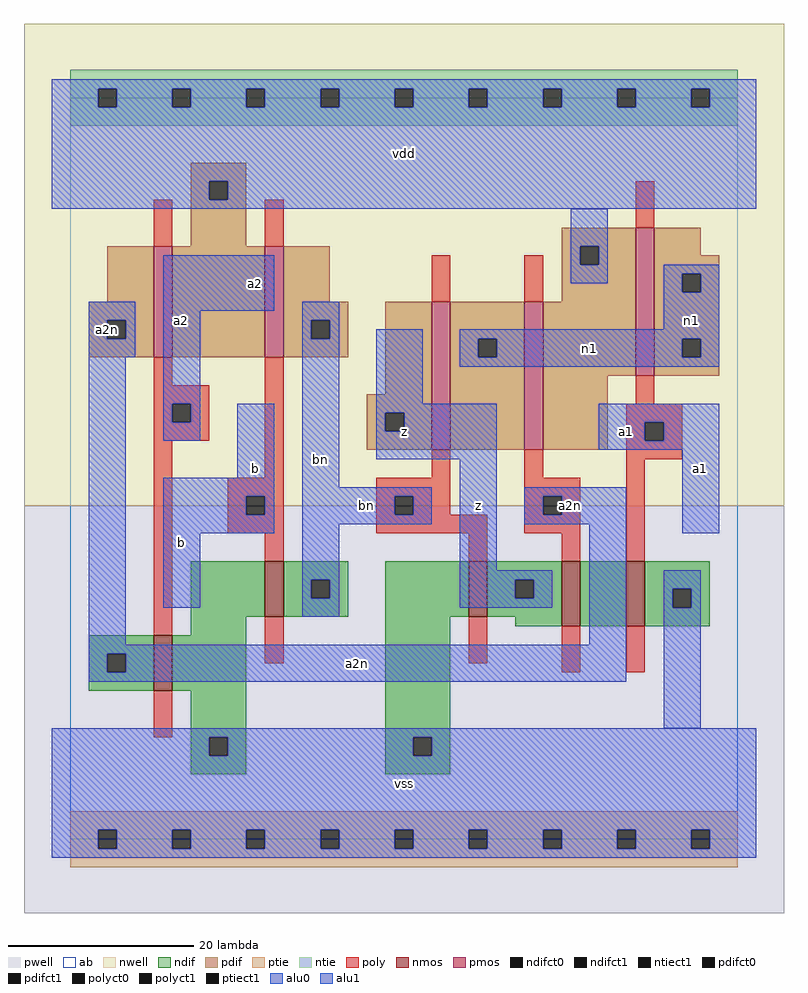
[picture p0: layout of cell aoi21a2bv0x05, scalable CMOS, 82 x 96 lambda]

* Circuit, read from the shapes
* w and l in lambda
.subckt aoi21a2bv0x05 a1 a2 a2n b bn n1 vdd vss z
M1 vss a2 a2n vss nfet w=6 l=2
M2 bn b vss vss nfet w=6 l=2
M3 z bn vss vss nfet w=6 l=2
M4 n2 a2n z vss nfet w=7 l=2
M5 vss a1 n2 vss nfet w=7 l=2
M6 vdd a2 a2n vdd pfet w=12 l=2
M7 bn b vdd vdd pfet w=12 l=2
M8 n1 bn z vdd pfet w=16 l=2
M9 vdd a2n n1 vdd pfet w=16 l=2
M10 n1 a1 vdd vdd pfet w=16 l=2
.ends

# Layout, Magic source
magic
tech scmos
<< ab >>
rect 0 0 72 80
<< nwell >>
rect -5 36 77 88
<< pwell >>
rect -5 -8 77 36
<< poly >>
rect 9 64 11 69
rect 21 64 23 69
rect 61 66 63 71
rect 39 58 41 63
rect 49 58 51 63
rect 9 49 11 52
rect 9 47 15 49
rect 9 45 11 47
rect 13 45 15 47
rect 9 43 15 45
rect 9 22 11 43
rect 21 39 23 52
rect 61 47 63 50
rect 60 45 66 47
rect 60 43 62 45
rect 64 43 66 45
rect 39 39 41 42
rect 17 37 23 39
rect 17 35 19 37
rect 21 35 23 37
rect 17 33 23 35
rect 33 37 41 39
rect 33 35 35 37
rect 37 35 41 37
rect 49 39 51 42
rect 60 41 66 43
rect 49 37 55 39
rect 49 35 51 37
rect 53 35 55 37
rect 33 33 45 35
rect 49 33 55 35
rect 21 30 23 33
rect 43 30 45 33
rect 53 30 55 33
rect 60 30 62 41
rect 21 19 23 24
rect 9 11 11 16
rect 43 19 45 24
rect 53 18 55 23
rect 60 18 62 23
<< ndif >>
rect 13 24 21 30
rect 23 28 30 30
rect 23 26 26 28
rect 28 26 30 28
rect 23 24 30 26
rect 34 24 43 30
rect 45 28 53 30
rect 45 26 48 28
rect 50 26 53 28
rect 45 24 53 26
rect 13 22 19 24
rect 2 20 9 22
rect 2 18 4 20
rect 6 18 9 20
rect 2 16 9 18
rect 11 16 19 22
rect 13 11 19 16
rect 13 9 15 11
rect 17 9 19 11
rect 13 7 19 9
rect 34 11 41 24
rect 48 23 53 24
rect 55 23 60 30
rect 62 27 69 30
rect 62 25 65 27
rect 67 25 69 27
rect 62 23 69 25
rect 34 9 37 11
rect 39 9 41 11
rect 34 7 41 9
<< pdif >>
rect 13 71 19 73
rect 13 69 15 71
rect 17 69 19 71
rect 13 64 19 69
rect 53 64 61 66
rect 4 58 9 64
rect 2 56 9 58
rect 2 54 4 56
rect 6 54 9 56
rect 2 52 9 54
rect 11 52 21 64
rect 23 58 28 64
rect 53 62 55 64
rect 57 62 61 64
rect 53 58 61 62
rect 23 56 30 58
rect 23 54 26 56
rect 28 54 30 56
rect 23 52 30 54
rect 34 48 39 58
rect 32 46 39 48
rect 32 44 34 46
rect 36 44 39 46
rect 32 42 39 44
rect 41 54 49 58
rect 41 52 44 54
rect 46 52 49 54
rect 41 42 49 52
rect 51 50 61 58
rect 63 63 68 66
rect 63 61 70 63
rect 63 59 66 61
rect 68 59 70 61
rect 63 54 70 59
rect 63 52 66 54
rect 68 52 70 54
rect 63 50 70 52
rect 51 42 58 50
<< alu1 >>
rect -2 81 74 82
rect -2 79 3 81
rect 5 79 11 81
rect 13 79 19 81
rect 21 79 27 81
rect 29 79 35 81
rect 37 79 43 81
rect 45 79 51 81
rect 53 79 59 81
rect 61 79 67 81
rect 69 79 74 81
rect -2 71 74 79
rect -2 69 15 71
rect 17 69 74 71
rect -2 68 74 69
rect 10 57 22 63
rect 10 47 14 57
rect 10 45 11 47
rect 13 45 14 47
rect 10 43 14 45
rect 18 39 22 47
rect 10 37 22 39
rect 10 35 19 37
rect 21 35 22 37
rect 10 33 22 35
rect 33 47 38 55
rect 33 46 46 47
rect 33 44 34 46
rect 36 44 46 46
rect 33 41 46 44
rect 57 45 70 47
rect 57 43 62 45
rect 64 43 70 45
rect 57 42 70 43
rect 10 25 14 33
rect 42 29 46 41
rect 42 28 52 29
rect 42 26 48 28
rect 50 26 52 28
rect 42 25 52 26
rect 66 33 70 42
rect -2 11 74 12
rect -2 9 15 11
rect 17 9 37 11
rect 39 9 74 11
rect -2 1 74 9
rect -2 -1 3 1
rect 5 -1 11 1
rect 13 -1 19 1
rect 21 -1 27 1
rect 29 -1 35 1
rect 37 -1 43 1
rect 45 -1 51 1
rect 53 -1 59 1
rect 61 -1 67 1
rect 69 -1 74 1
rect -2 -2 74 -1
<< ptie >>
rect 0 1 72 3
rect 0 -1 3 1
rect 5 -1 11 1
rect 13 -1 19 1
rect 21 -1 27 1
rect 29 -1 35 1
rect 37 -1 43 1
rect 45 -1 51 1
rect 53 -1 59 1
rect 61 -1 67 1
rect 69 -1 72 1
rect 0 -3 72 -1
<< ntie >>
rect 0 81 72 83
rect 0 79 3 81
rect 5 79 11 81
rect 13 79 19 81
rect 21 79 27 81
rect 29 79 35 81
rect 37 79 43 81
rect 45 79 51 81
rect 53 79 59 81
rect 61 79 67 81
rect 69 79 72 81
rect 0 77 72 79
<< nmos >>
rect 21 24 23 30
rect 43 24 45 30
rect 9 16 11 22
rect 53 23 55 30
rect 60 23 62 30
<< pmos >>
rect 9 52 11 64
rect 21 52 23 64
rect 39 42 41 58
rect 49 42 51 58
rect 61 50 63 66
<< polyct0 >>
rect 35 35 37 37
rect 51 35 53 37
<< polyct1 >>
rect 11 45 13 47
rect 62 43 64 45
rect 19 35 21 37
<< ndifct0 >>
rect 26 26 28 28
rect 4 18 6 20
rect 65 25 67 27
<< ndifct1 >>
rect 48 26 50 28
rect 15 9 17 11
rect 37 9 39 11
<< ntiect1 >>
rect 3 79 5 81
rect 11 79 13 81
rect 19 79 21 81
rect 27 79 29 81
rect 35 79 37 81
rect 43 79 45 81
rect 51 79 53 81
rect 59 79 61 81
rect 67 79 69 81
<< ptiect1 >>
rect 3 -1 5 1
rect 11 -1 13 1
rect 19 -1 21 1
rect 27 -1 29 1
rect 35 -1 37 1
rect 43 -1 45 1
rect 51 -1 53 1
rect 59 -1 61 1
rect 67 -1 69 1
<< pdifct0 >>
rect 4 54 6 56
rect 55 62 57 64
rect 26 54 28 56
rect 44 52 46 54
rect 66 59 68 61
rect 66 52 68 54
<< pdifct1 >>
rect 15 69 17 71
rect 34 44 36 46
<< alu0 >>
rect 54 64 58 68
rect 2 56 7 58
rect 2 54 4 56
rect 6 54 7 56
rect 2 52 7 54
rect 54 62 55 64
rect 57 62 58 64
rect 54 60 58 62
rect 64 61 70 62
rect 64 59 66 61
rect 68 59 70 61
rect 2 21 6 52
rect 25 56 29 58
rect 25 54 26 56
rect 28 54 29 56
rect 64 55 70 59
rect 25 38 29 54
rect 42 54 70 55
rect 42 52 44 54
rect 46 52 66 54
rect 68 52 70 54
rect 42 51 70 52
rect 25 37 39 38
rect 25 35 35 37
rect 37 35 39 37
rect 25 34 39 35
rect 25 28 29 34
rect 25 26 26 28
rect 28 26 29 28
rect 25 24 29 26
rect 49 37 60 38
rect 49 35 51 37
rect 53 35 60 37
rect 49 34 60 35
rect 56 21 60 34
rect 2 20 60 21
rect 2 18 4 20
rect 6 18 60 20
rect 2 17 60 18
rect 64 27 68 29
rect 64 25 65 27
rect 67 25 68 27
rect 64 12 68 25
<< labels >>
rlabel alu0 4 55 4 55 6 a2n
rlabel alu0 27 41 27 41 6 bn
rlabel alu0 32 36 32 36 6 bn
rlabel alu0 31 19 31 19 6 a2n
rlabel alu0 54 36 54 36 6 a2n
rlabel alu0 56 53 56 53 6 n1
rlabel alu0 67 56 67 56 6 n1
rlabel alu1 12 32 12 32 6 b
rlabel alu1 12 56 12 56 6 a2
rlabel alu1 20 40 20 40 6 b
rlabel alu1 20 60 20 60 6 a2
rlabel alu1 36 6 36 6 6 vss
rlabel alu1 44 36 44 36 6 z
rlabel alu1 36 44 36 44 6 z
rlabel alu1 36 74 36 74 6 vdd
rlabel alu1 60 44 60 44 6 a1
rlabel alu1 68 40 68 40 6 a1
<< end >>
